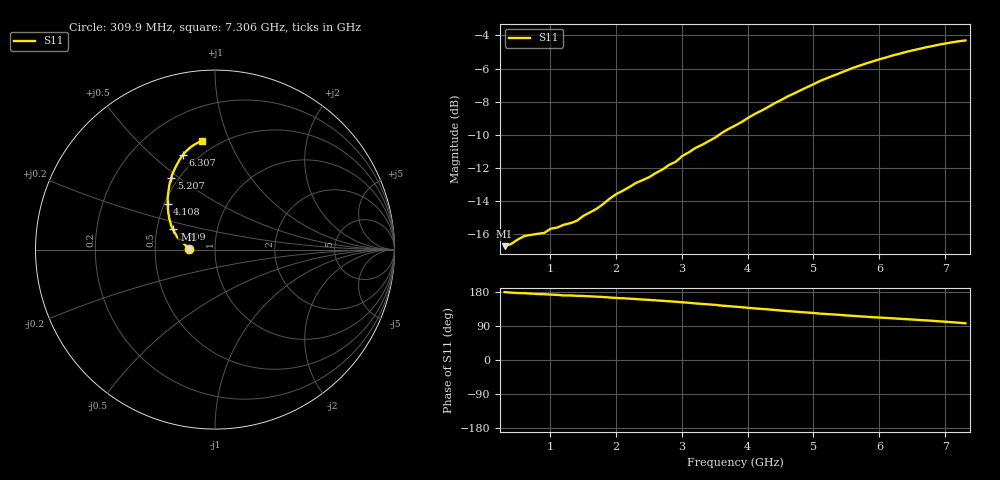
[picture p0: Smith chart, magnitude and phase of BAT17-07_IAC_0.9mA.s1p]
! Infineon Technologies  Discrete & RF Semiconductors
! BAT17-07
! IAC = 0.9 mA
! One-Port S-Parameters
# Hz  S  MA  R  50
!f  S11
!Hz  Mag  Ang
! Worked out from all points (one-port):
!   71 points, 309.9 MHz to 7.306 GHz, reference 50 ohm
!   lowest |S11| = -16.7 dB at 309.9 MHz (marker M1), VSWR 1.34, Z = 37.3 + j0.157 ohm
!   |S11| at or under -10 dB: start of sweep to 3.569 GHz
!   S11 on the Smith chart (normalised r, x): 309.9 MHz: 0.75, +0.00; 2.909 GHz: 0.61, +0.15; 4.108 GHz: 0.52, +0.30; 5.207 GHz: 0.46, +0.47; 6.307 GHz: 0.41, +0.63; 7.306 GHz: 0.41, +0.80
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3.0985e8  0.1456 179.2
4.098e8  0.1479 177.7
6.097e8  0.1563 176.2
9.0955e8  0.1596 173.6
1.0095e9  0.1644 172.5
1.2094e9  0.1691 170.3
1.4093e9  0.1739 169.4
1.50925e9  0.1801 168.9
1.70915e9  0.189 167.1
1.8091e9  0.1955 166.3
2.009e9  0.2094 163.6
2.10895e9  0.2144 162.9
2.30885e9  0.2263 160.7
2.50875e9  0.2356 158.6
2.90855e9  0.262 153.7
3.0085e9  0.2728 152.3
3.50825e9  0.31 145.5
3.6082e9  0.3202 143.4
3.8081e9  0.3368 140.7
4.10795e9  0.3653 136.2
4.70765e9  0.4215 127.8
5.2074e9  0.4689 121.2
5.6072e9  0.5041 116.4
5.90705e9  0.5273 112.8
6.30685e9  0.5556 108.9
6.50675e9  0.5687 106.7
6.8066e9  0.5861 103.4
7.30635e9  0.6093 97.0
